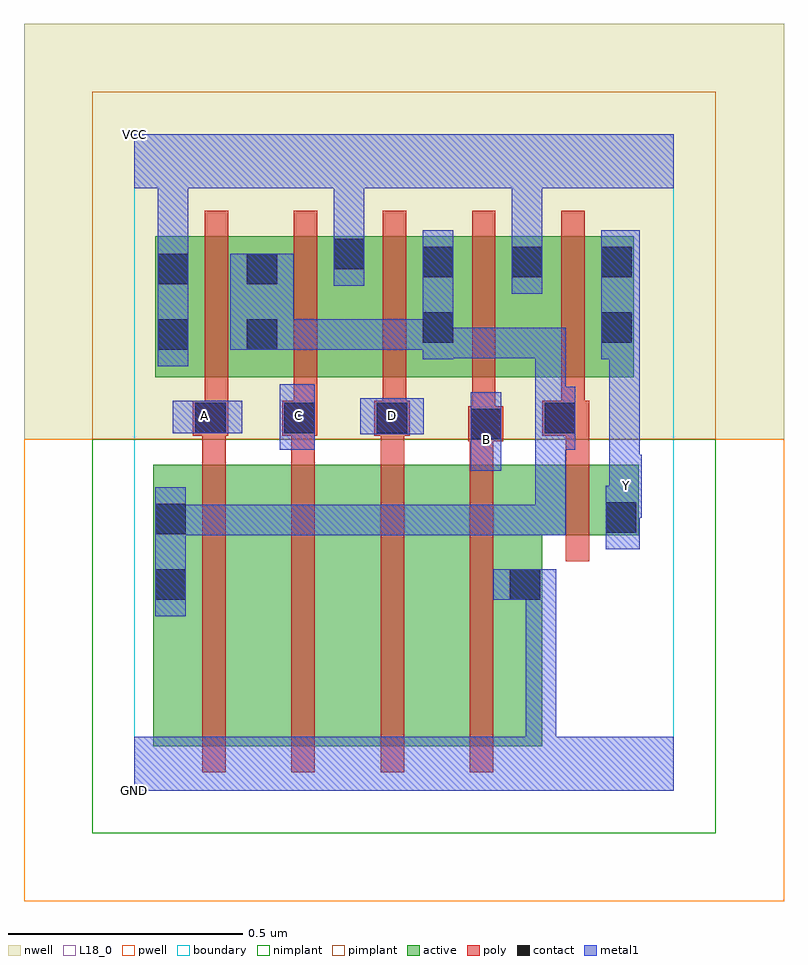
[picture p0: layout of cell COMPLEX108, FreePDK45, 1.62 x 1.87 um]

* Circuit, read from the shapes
.subckt COMPLEX108 A B C D GND VCC Y
M1 n1 A n2 VSUBS nfet w=0.6u l=0.05u
M2 n3 C n1 VSUBS nfet w=0.6u l=0.05u
M3 n4 D n3 VSUBS nfet w=0.6u l=0.05u
M4 GND B n4 VSUBS nfet w=0.6u l=0.05u
M5 Y n2 GND VSUBS nfet w=0.15u l=0.05u
M6 n2 A VCC n5 pfet w=0.3u l=0.05u
M7 VCC C n2 n5 pfet w=0.3u l=0.05u
M8 n2 D VCC n5 pfet w=0.3u l=0.05u
M9 VCC B n2 n5 pfet w=0.3u l=0.05u
M10 Y n2 VCC n5 pfet w=0.3u l=0.05u
.ends

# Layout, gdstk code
import gdstk
lib = gdstk.Library(unit=1e-6, precision=1e-09)
def R(c, l, rs):  # rectangles x0, y0, x1, y1
    for r in rs: c.add(gdstk.rectangle(r[:2], r[2:], *l))
def A(c, l, x, y, w, h, nx, ny, dx, dy):  # array of equal rectangles
    R(c, l, [(x+i*dx, y+j*dy, x+i*dx+w, y+j*dy+h) for i in range(nx) for j in range(ny)])
active = (1, 0)
pwell = (2, 0)
nwell = (3, 0)
nimplant = (4, 0)
pimplant = (5, 0)
poly = (9, 0)
contact = (10, 0)
metal1 = (11, 0)
L18_0 = (18, 0)
boundary = (235, 0)

complex108 = lib.new_cell('COMPLEX108')
A(complex108, active, 0.42, 0.882, 0.265, 0.3, 3, 1, 0.19, 0)
R(complex108, active, [(0.04,0.095,0.265,0.695), (0.04,0.095,0.145,0.695), (0.265,0.095,0.455,0.695), (0.455,0.095,0.645,0.695), (0.645,0.095,0.87,0.695), (0.795,0.302,0.87,0.545), (0.795,0.545,1.075,0.695), (1,0.545,1.075,0.695), (0.045,0.882,0.31,1.182), (0.045,0.882,0.12,1.182), (0.235,0.882,0.31,1.182), (0.235,0.882,0.495,1.182), (0.61,0.882,0.685,1.182), (0.99,0.882,1.065,1.167), (0.42,1.002,0.495,1.182), (0.8,1.002,0.875,1.167)])
R(complex108, pwell, [(-0.235,-0.235,1.385,0.75)])
R(complex108, nwell, [(-0.235,0.75,1.385,1.635)])
R(complex108, nimplant, [(-0.09,-0.09,1.24,0.75)])
R(complex108, pimplant, [(-0.09,0.75,1.24,1.49)])
A(complex108, poly, 0.145, 0.04, 0.05, 0.71, 4, 1, 0.19, 0)
A(complex108, poly, 0.145, 0.7, 0.05, 0.107, 3, 1, 0.19, 0)
A(complex108, poly, 0.15, 0.782, 0.05, 0.095, 3, 1, 0.19, 0)
A(complex108, poly, 0.15, 0.827, 0.05, 0.41, 5, 1, 0.19, 0)
R(complex108, poly, [(0.92,0.49,0.97,0.75), (0.715,0.7,0.765,0.795), (0.92,0.7,0.97,0.807), (0.712,0.745,0.787,0.82), (0.125,0.757,0.2,0.832), (0.315,0.757,0.39,0.832), (0.512,0.757,0.587,0.832), (0.87,0.757,0.97,0.832), (0.72,0.77,0.77,0.877), (0.91,0.782,0.96,0.877)])
A(complex108, contact, 0.615, 1.095, 0.065, 0.065, 3, 1, 0.19, 0)
R(complex108, contact, [(0.045,0.407,0.11,0.472), (0.8,0.407,0.865,0.472), (0.045,0.547,0.11,0.612), (1.005,0.55,1.07,0.615), (0.717,0.75,0.782,0.815), (0.13,0.762,0.195,0.827), (0.32,0.762,0.385,0.827), (0.517,0.762,0.582,0.827), (0.875,0.762,0.94,0.827), (0.05,0.94,0.115,1.005), (0.24,0.94,0.305,1.005), (0.615,0.955,0.68,1.02), (0.995,0.955,1.06,1.02), (0.05,1.08,0.115,1.145), (0.24,1.08,0.305,1.145), (0.425,1.112,0.49,1.177)])
R(complex108, metal1, [(0,0,1.15,0.115), (0.835,0.05,0.9,0.472), (0.045,0.372,0.11,0.647), (0.765,0.407,0.9,0.472), (1.005,0.515,1.077,0.65), (0.045,0.545,0.11,0.61), (0.045,0.545,0.11,0.61), (0.045,0.545,0.252,0.61), (0.187,0.545,0.252,0.61), (0.187,0.545,0.252,0.61), (0.187,0.545,0.252,0.61), (0.187,0.545,0.542,0.61), (0.477,0.545,0.542,0.61), (0.477,0.545,0.542,0.61), (0.477,0.545,0.542,0.61), (0.477,0.545,0.692,0.61), (0.627,0.545,0.692,0.61), (0.627,0.545,0.692,0.61), (0.627,0.545,0.692,0.61), (0.627,0.545,0.92,0.61), (0.855,0.545,0.92,0.61), (0.855,0.545,0.92,0.862), (1.012,0.582,1.082,0.717), (1.012,0.585,1.077,0.65), (1.012,0.652,1.077,0.985), (0.717,0.682,0.782,0.85), (0.31,0.727,0.385,0.867), (0.875,0.727,0.94,0.862), (0.482,0.76,0.617,0.837), (0.082,0.762,0.23,0.832), (0.855,0.797,0.92,0.862), (0.855,0.797,0.94,0.862), (0.855,0.797,0.92,0.987), (0.05,0.905,0.115,1.18), (0.615,0.92,0.68,1.195), (0.995,0.92,1.077,1.195), (0.615,0.922,0.68,0.987), (0.615,0.922,0.68,0.987), (0.615,0.922,0.92,0.987), (0.855,0.922,0.92,0.987), (0.205,0.94,0.34,1.145), (0.275,0.94,0.34,1.005), (0.275,0.94,0.34,1.005), (0.275,0.94,0.477,1.005), (0.412,0.94,0.477,1.005), (0.412,0.94,0.477,1.005), (0.412,0.94,0.477,1.005), (0.412,0.94,0.68,1.005), (0.805,1.06,0.87,1.195), (0.425,1.077,0.49,1.212), (0.05,1.115,0.115,1.18), (0.05,1.115,0.115,1.18), (0.05,1.115,0.115,1.35), (0.805,1.13,0.87,1.195), (0.805,1.13,0.87,1.195), (0.805,1.13,0.87,1.35), (0.425,1.147,0.49,1.212), (0.425,1.147,0.49,1.212), (0.425,1.147,0.49,1.35), (0,1.285,1.15,1.4)])
A(complex108, L18_0, 0.117, 0.767, 0.065, 0.065, 3, 1, 0.2, 0)
R(complex108, L18_0, [(0,0,1.15,0.115), (0.835,0.05,0.9,0.472), (0.765,0.407,0.9,0.472), (1.005,0.515,1.077,0.65), (1.012,0.582,1.082,0.717), (1.012,0.585,1.077,0.65), (1.017,0.617,1.082,0.682), (1.012,0.652,1.077,0.985), (0.717,0.682,0.782,0.85), (0.717,0.717,0.782,0.782), (0.31,0.727,0.385,0.867), (0.482,0.76,0.617,0.837), (0.082,0.762,0.23,0.832), (0.05,0.905,0.115,1.18), (0.995,0.92,1.077,1.195), (0.805,1.06,0.87,1.195), (0.425,1.077,0.49,1.212), (0.05,1.115,0.115,1.18), (0.05,1.115,0.115,1.18), (0.05,1.115,0.115,1.35), (0.805,1.13,0.87,1.195), (0.805,1.13,0.87,1.195), (0.805,1.13,0.87,1.35), (0.425,1.147,0.49,1.212), (0.425,1.147,0.49,1.212), (0.425,1.147,0.49,1.35), (0,1.285,1.15,1.4)])
R(complex108, boundary, [(0,0,1.15,1.4)])
complex108.add(gdstk.Label('A', (0.15,0.8), layer=11, texttype=0))
complex108.add(gdstk.Label('B', (0.75,0.75), layer=11, texttype=0))
complex108.add(gdstk.Label('C', (0.35,0.8), layer=11, texttype=0))
complex108.add(gdstk.Label('D', (0.55,0.8), layer=11, texttype=0))
complex108.add(gdstk.Label('Y', (1.05,0.65), layer=11, texttype=0))
complex108.add(gdstk.Label('VCC', (0,1.4), layer=11, texttype=0))
complex108.add(gdstk.Label('GND', (0,0), layer=11, texttype=0))

lib.write_gds('COMPLEX108.gds')
